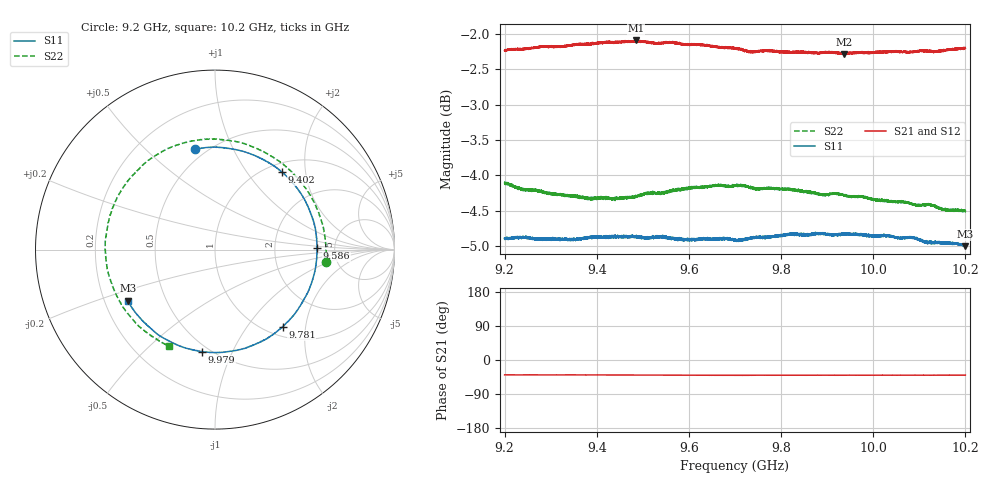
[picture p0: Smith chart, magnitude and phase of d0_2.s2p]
!Agilent Technologies,N5242A,MY51221714,A.09.90.19
!Agilent N5242A: A.09.90.19
!Date: Tuesday, March 26, 2024 17:08:35
!Correction: S11(Full 2 Port(1,2))
!S21(Full 2 Port(1,2))
!S12(Full 2 Port(1,2))
!S22(Full 2 Port(1,2))
!S2P File: Measurements: S11, S21, S12, S22:
# Hz S  dB  R 50
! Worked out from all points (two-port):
!   16001 points, 9.2 GHz to 10.2 GHz, reference 50 ohm
!   highest |S21| = -2.10 dB at 9.485 GHz (marker M1); lowest = -2.3 dB at 9.936 GHz (marker M2)
!   |S21| within 3 dB of the highest: start of sweep to end of sweep
!   lowest |S11| = -5.0 dB at 10.2 GHz (marker M3), VSWR 3.57, Z = 14.9 - j12.4 ohm
!   |S11| at or under -10 dB: nowhere
!   |S22| runs from -4.5 to -4.1 dB; largest |S21 - S12| = 0.012
!   S11 on the Smith chart (normalised r, x): 9.2 GHz: 0.43, +0.72; 9.402 GHz: 1.16, +1.49; 9.586 GHz: 3.62, +0.08; 9.781 GHz: 1.17, -1.50; 9.979 GHz: 0.46, -0.77; 10.2 GHz: 0.30, -0.25
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9.2e9  -4.88 101.5  -2.24 -39.2  -2.22 -40.0  -4.11 -6.5
9.241875e9  -4.87 90.7  -2.22 -39.3  -2.21 -39.9  -4.20 4.8
9.281375e9  -4.90 80.5  -2.19 -39.3  -2.16 -39.9  -4.23 15.4
9.323125e9  -4.90 69.6  -2.19 -39.3  -2.16 -39.9  -4.28 26.7
9.366688e9  -4.90 58.5  -2.15 -39.3  -2.12 -40.0  -4.31 38.4
9.402188e9  -4.86 49.1  -2.13 -39.3  -2.11 -40.1  -4.31 48.1
9.446625e9  -4.87 37.4  -2.12 -39.5  -2.11 -40.3  -4.32 59.8
9.485e9  -4.85 27.4  -2.10 -39.7  -2.10 -40.3  -4.29 70.1
9.533375e9  -4.88 14.8  -2.14 -39.8  -2.12 -40.4  -4.24 82.4
9.586375e9  -4.92 0.8  -2.15 -40.1  -2.14 -40.7  -4.19 95.9
9.6405e9  -4.87 -13.3  -2.17 -40.3  -2.15 -40.8  -4.17 109.3
9.7e9  -4.91 -28.6  -2.20 -40.3  -2.19 -41.0  -4.14 123.9
9.781e9  -4.86 -48.8  -2.24 -40.2  -2.24 -40.8  -4.19 143.5
9.821938e9  -4.83 -58.9  -2.26 -40.2  -2.26 -40.7  -4.19 153.5
9.866688e9  -4.84 -69.9  -2.26 -40.2  -2.26 -40.7  -4.23 164.2
9.935938e9  -4.83 -87.0  -2.29 -40.2  -2.28 -40.8  -4.29 -179.3
9.979188e9  -4.84 -97.4  -2.27 -40.1  -2.27 -40.6  -4.30 -168.7
1.003338e10  -4.86 -110.5  -2.26 -40.1  -2.25 -40.6  -4.36 -155.7
1.007506e10  -4.87 -120.2  -2.26 -40.1  -2.26 -40.6  -4.39 -145.9
1.012031e10  -4.94 -130.9  -2.24 -40.2  -2.24 -40.7  -4.40 -134.8
1.019975e10  -5.00 -149.6  -2.20 -39.8  -2.19 -40.5  -4.50 -115.7
1.02e10  -4.99 -149.7  -2.21 -39.9  -2.19 -40.6  -4.50 -115.7
